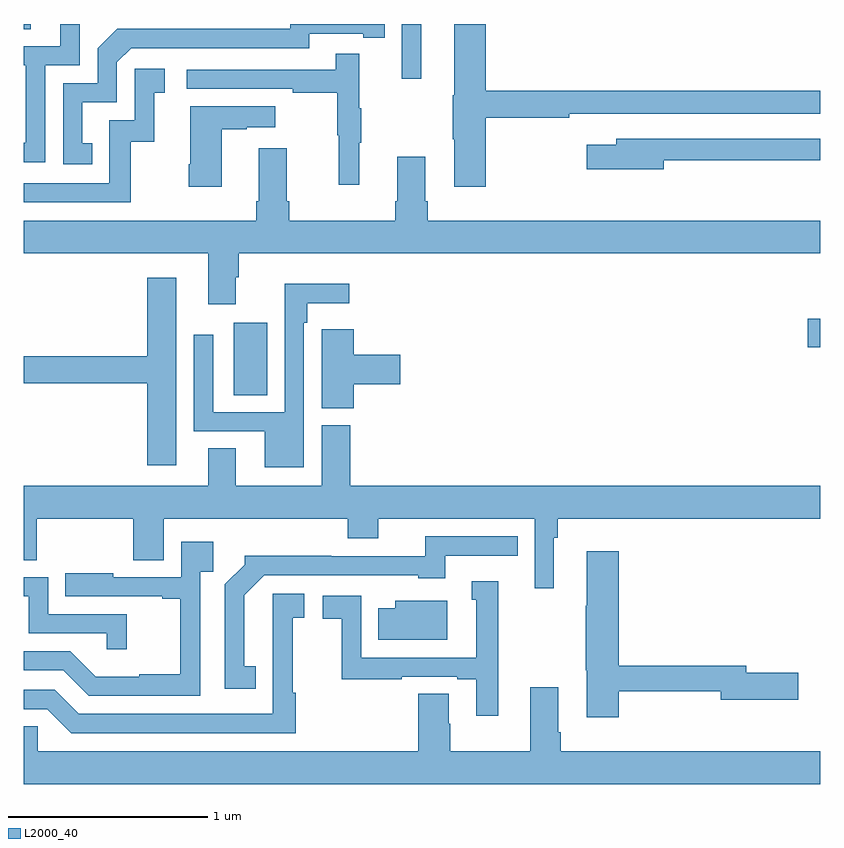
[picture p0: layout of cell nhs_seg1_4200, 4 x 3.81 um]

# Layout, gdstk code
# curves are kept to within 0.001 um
import gdstk
lib = gdstk.Library(unit=1e-6, precision=1e-09)
def R(c, l, rs):  # rectangles x0, y0, x1, y1
    for r in rs: c.add(gdstk.rectangle(r[:2], r[2:], *l))
def P(c, l, *ps):  # polygons
    for p in ps: c.add(gdstk.Polygon(p, *l))
L2000_40 = (2000, 40)

nhs_seg1_4200 = lib.new_cell('nhs_seg1_4200')
R(nhs_seg1_4200, L2000_40, [(340.055,568.336,340.222,568.699), (342.936,568.577,343,568.719), (340.899,569.925,340.996,570.199), (339,570.172,339.037,570.199)])
P(nhs_seg1_4200, L2000_40, [(339.108,569.991),(339.282,569.991),(339.282,570.199),(339.185,570.199),(339.185,570.087),(339,570.087),(339,569.991),(339.012,569.991),(339.012,569.602),(339,569.602),(339,569.505),(339.108,569.505)],
  [(339.344,569.601),(339.295,569.601),(339.295,569.805),(339.468,569.805),(339.468,570.006),(339.54,570.078),(340.434,570.078),(340.434,570.15),(340.706,570.15),(340.706,570.13),(340.814,570.13),(340.814,570.199),(340.338,570.199),(340.338,570.174),(339.878,570.174),(339.878,570.176),(339.47,570.176),(339.372,570.078),(339.372,569.901),(339.198,569.901),(339.198,569.496),(339.344,569.496)],
  [(341.321,569.728),(341.738,569.728),(341.738,569.748),(343,569.748),(343,569.864),(341.321,569.864),(341.321,570.199),(341.162,570.199),(341.162,569.841),(341.155,569.841),(341.155,569.62),(341.162,569.62),(341.162,569.382),(341.321,569.382)],
  [(340.685,569.603),(340.696,569.603),(340.696,569.777),(340.685,569.777),(340.685,570.049),(340.567,570.049),(340.567,569.97),(339.819,569.97),(339.819,569.874),(340.351,569.874),(340.351,569.854),(340.575,569.854),(340.575,569.64),(340.582,569.64),(340.582,569.391),(340.685,569.391)],
  [(339.538,569.607),(339.656,569.607),(339.656,569.853),(339.709,569.853),(339.709,569.974),(339.558,569.974),(339.558,569.715),(339.429,569.715),(339.429,569.4),(339,569.4),(339,569.304),(339.538,569.304)],
  [(339.994,569.671),(340.121,569.671),(340.121,569.681),(340.264,569.681),(340.264,569.785),(339.836,569.785),(339.836,569.494),(339.829,569.494),(339.829,569.382),(339.994,569.382)],
  [(342.214,569.514),(343,569.514),(343,569.622),(341.975,569.622),(341.975,569.593),(341.826,569.593),(341.826,569.471),(342.214,569.471)],
  [(340.066,568.928),(340.079,568.928),(340.079,569.048),(343,569.048),(343,569.212),(341.03,569.212),(341.03,569.308),(341.017,569.308),(341.017,569.533),(340.877,569.533),(340.877,569.308),(340.865,569.308),(340.865,569.212),(340.334,569.212),(340.334,569.308),(340.321,569.308),(340.321,569.575),(340.181,569.575),(340.181,569.308),(340.169,569.308),(340.169,569.212),(339,569.212),(339,569.048),(339.926,569.048),(339.926,568.791),(340.066,568.791)],
  [(339.766,568.924),(339.62,568.924),(339.62,568.532),(339,568.532),(339,568.396),(339.62,568.396),(339.62,567.984),(339.766,567.984)],
  [(340.407,568.7),(340.423,568.7),(340.423,568.796),(340.636,568.796),(340.636,568.894),(340.311,568.894),(340.311,568.251),(339.951,568.251),(339.951,568.639),(339.855,568.639),(339.855,568.155),(340.211,568.155),(340.211,567.974),(340.407,567.974)],
  [(340.658,568.391),(340.891,568.391),(340.891,568.538),(340.658,568.538),(340.658,568.666),(340.497,568.666),(340.497,568.553),(340.496,568.553),(340.496,568.27),(340.658,568.27)],
  [(341.662,567.62),(341.681,567.62),(341.681,567.716),(343,567.716),(343,567.88),(340.64,567.88),(340.64,568.185),(340.496,568.185),(340.496,567.88),(340.066,567.88),(340.066,568.07),(339.926,568.07),(339.926,567.88),(339,567.88),(339,567.508),(339.065,567.508),(339.065,567.716),(339.551,567.716),(339.551,567.508),(339.703,567.508),(339.703,567.716),(340.628,567.716),(340.628,567.617),(340.78,567.617),(340.78,567.716),(341.565,567.716),(341.565,567.366),(341.662,567.366)],
  [(340.166,566.975),(340.108,566.975),(340.108,567.331),(340.209,567.432),(340.98,567.432),(340.98,567.416),(341.116,567.416),(341.116,567.531),(341.48,567.531),(341.48,567.627),(341.017,567.627),(341.017,567.528),(340.544,567.528),(340.544,567.53),(340.11,567.53),(340.11,567.485),(340.011,567.386),(340.011,566.862),(340.166,566.862)],
  [(339.888,567.449),(339.953,567.449),(339.953,567.601),(339.792,567.601),(339.792,567.423),(339.451,567.423),(339.451,567.442),(339.208,567.442),(339.208,567.327),(339.695,567.327),(339.695,567.315),(339.787,567.315),(339.787,566.935),(339.581,566.935),(339.581,566.923),(339.362,566.923),(339.234,567.051),(339,567.051),(339,566.955),(339.198,566.955),(339.327,566.826),(339.888,566.826)],
  [(341.987,566.85),(342.5,566.85),(342.5,566.807),(342.889,566.807),(342.889,566.942),(342.628,566.942),(342.628,566.978),(341.987,566.978),(341.987,567.553),(341.828,567.553),(341.828,567.278),(341.821,567.278),(341.821,566.955),(341.828,566.955),(341.828,566.718),(341.987,566.718)],
  [(339.518,567.237),(339.123,567.237),(339.123,567.423),(339,567.423),(339,567.327),(339.027,567.327),(339.027,567.141),(339.417,567.141),(339.417,567.06),(339.518,567.06)],
  [(341.383,567.403),(341.249,567.403),(341.249,567.309),(341.273,567.309),(341.273,567.018),(340.695,567.018),(340.695,567.33),(340.503,567.33),(340.503,567.214),(340.597,567.214),(340.597,566.91),(340.898,566.91),(340.898,566.922),(341.177,566.922),(341.177,566.91),(341.273,566.91),(341.273,566.727),(341.383,566.727)],
  [(340.367,566.843),(340.35,566.843),(340.35,567.219),(340.408,567.219),(340.408,567.34),(340.25,567.34),(340.251,566.736),(339.276,566.736),(339.156,566.856),(339,566.856),(339,566.76),(339.12,566.76),(339.24,566.64),(340.367,566.64)],
  [(341.128,567.304),(340.865,567.304),(340.865,567.265),(340.78,567.265),(340.78,567.107),(341.128,567.107)],
  [(343,566.548),(341.696,566.548),(341.696,566.644),(341.683,566.644),(341.683,566.869),(341.543,566.869),(341.543,566.548),(341.142,566.548),(341.142,566.687),(341.134,566.687),(341.134,566.837),(340.982,566.837),(340.982,566.548),(339.072,566.548),(339.072,566.675),(339,566.675),(339,566.384),(343,566.384)])

lib.write_gds('nhs_seg1_4200.gds')
